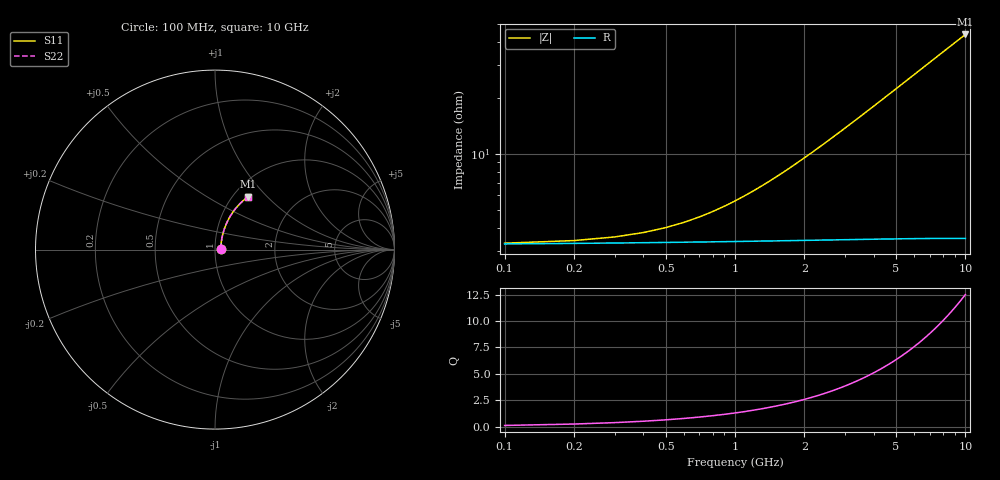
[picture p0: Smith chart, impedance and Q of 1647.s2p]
# Hz S RI R 50.00
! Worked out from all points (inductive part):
!   100 points, 100 MHz to 10 GHz, reference 50 ohm
!   read as one part in series: L = 706 pH near 2.4 GHz
!   highest Q = 12.5 at 10 GHz (marker M1), where L = 697 pH
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1e8  0.0317 0.0036  0.9683 -0.00473  0.9683 -0.00473  0.0317 0.0036
2e8  0.032 0.00719  0.968 -0.00946  0.968 -0.00946  0.032 0.00719
3e8  0.0322 0.0108  0.9678 -0.0142  0.9678 -0.0142  0.0322 0.0108
5e8  0.0327 0.018  0.9673 -0.0236  0.9673 -0.0236  0.0327 0.018
1.1e9  0.0348 0.0394  0.9651 -0.0519  0.9651 -0.0519  0.0348 0.0394
1.3e9  0.0358 0.0465  0.9641 -0.0612  0.9641 -0.0612  0.0358 0.0465
1.5e9  0.0368 0.0536  0.963 -0.0706  0.963 -0.0706  0.0368 0.0536
1.8e9  0.0387 0.0641  0.9611 -0.0846  0.9611 -0.0846  0.0387 0.0641
2.1e9  0.0408 0.0746  0.9589 -0.0985  0.9589 -0.0985  0.0408 0.0746
2.5e9  0.0441 0.0885  0.9554 -0.1169  0.9554 -0.1169  0.0441 0.0885
2.9e9  0.048 0.1022  0.9515 -0.1351  0.9515 -0.1351  0.048 0.1022
3.4e9  0.0534 0.119  0.9458 -0.1576  0.9458 -0.1576  0.0534 0.119
3.8e9  0.0584 0.1322  0.9406 -0.1753  0.9406 -0.1753  0.0584 0.1322
4.2e9  0.0638 0.1452  0.935 -0.1928  0.935 -0.1928  0.0638 0.1452
4.6e9  0.0697 0.1578  0.9289 -0.2101  0.9289 -0.2101  0.0697 0.1578
5.1e9  0.0776 0.1733  0.9206 -0.2312  0.9206 -0.2312  0.0776 0.1733
5.9e9  0.0917 0.1969  0.9059 -0.264  0.9059 -0.264  0.0917 0.1969
6.7e9  0.1074 0.2192  0.8896 -0.2955  0.8896 -0.2955  0.1074 0.2192
7.5e9  0.1244 0.24  0.8718 -0.3254  0.8718 -0.3254  0.1244 0.24
8.4e9  0.145 0.2615  0.8503 -0.3573  0.8503 -0.3573  0.145 0.2615
9.2e9  0.1644 0.2789  0.8299 -0.3839  0.8299 -0.3839  0.1644 0.2789
1e10  0.1846 0.2946  0.8087 -0.4089  0.8087 -0.4089  0.1846 0.2946
